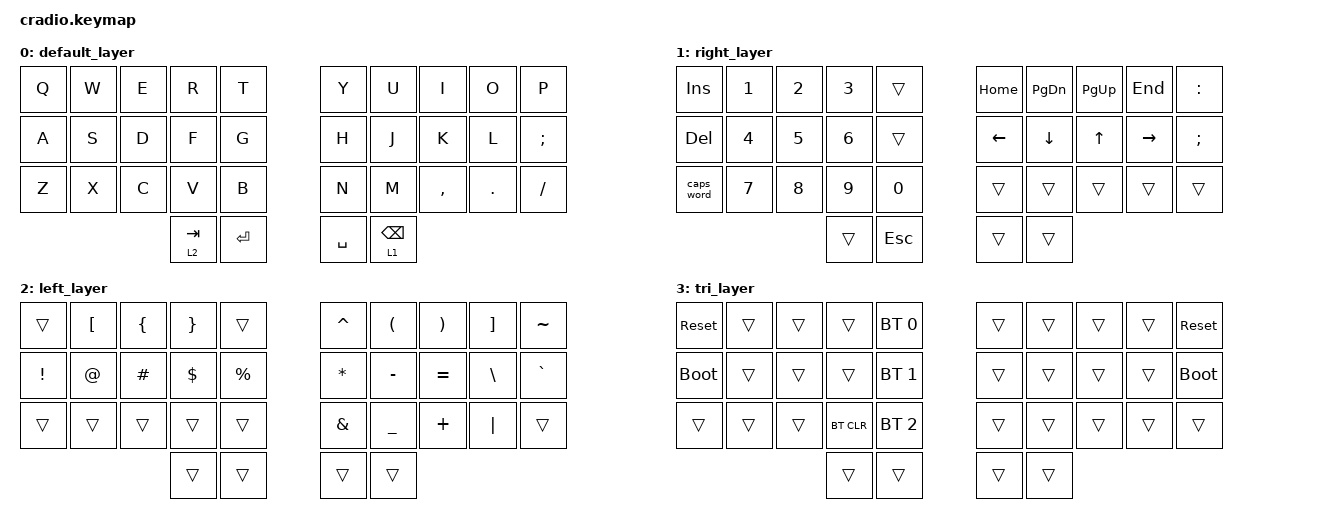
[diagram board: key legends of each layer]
// Copyright (c) 2022 The ZMK Contributors
// SPDX-License-Identifier: MIT

#include <behaviors.dtsi>
#include <dt-bindings/zmk/keys.h>
#include <dt-bindings/zmk/bt.h>

// Home row mods macro
//#define HRML(k1,k2,k3,k4) &ht LSHFT k1  &ht LALT k2  &ht LCTRL k3  &ht LGUI k4
//#define HRMR(k1,k2,k3,k4) &ht RGUI k1  &ht RCTRL k2  &ht RALT k3  &ht RSHFT k4

/ {
    behaviors {
        ht: hold_tap {
            compatible = "zmk,behavior-hold-tap";
            #binding-cells = <2>;
            flavor = "tap-preferred";
            tapping-term-ms = <220>;
            quick-tap-ms = <150>;
            require-prior-idle-ms = <100>;
            bindings = <&kp>, <&kp>;
        };
    };

    conditional_layers {
        compatible = "zmk,conditional-layers";
        tri_layer {
            if-layers = <1 2>;
            then-layer = <3>;
        };
    };

    keymap {
        compatible = "zmk,keymap";
        default_layer {
            bindings = <
		&kp Q   &kp W   &kp E   &kp R   &kp T 						&kp Y   &kp U   &kp I    &kp O   &kp P 
		&kp A   &kp S   &kp D   &kp F   &kp G 			        	&kp H   &kp J   &kp K    &kp L   &kp SEMI
		&kp Z   &kp X   &kp C   &kp V   &kp B				        &kp N   &kp M   &kp CMMA &kp DOT &kp SLASH
                              &lt 2 TAB   &kp ENTER     &kp SPACE  &lt 1 BSPC
            >;
        };

        right_layer {
            bindings = <
            &kp INS    &kp N1     &kp N2     &kp N3     &trans         &kp HOME   &kp PG_DN  &kp PG_UP  &kp END    &kp COLON
            &kp DEL    &kp N4     &kp N5     &kp N6     &trans         &kp LEFT   &kp DOWN   &kp UP   &kp RIGHT   &kp SEMI
           &caps_word  &kp N7     &kp N8     &kp N9     &kp N0         &trans     &trans     &trans     &trans     &trans
                                             &trans     &kp ESC        &trans     &trans
            >;
        };

        left_layer {
            bindings = <
            &trans     &kp LBKT   &kp LBRC   &kp RBRC   &trans         &kp CARET  &kp LPAR   &kp RPAR   &kp RBKT   &kp TILDE
            &kp EXCL   &kp AT     &kp HASH   &kp DLLR   &kp PRCNT      &kp ASTRK  &kp MINUS  &kp EQUAL  &kp BSLH   &kp GRAVE
            &trans     &trans     &trans     &trans     &trans         &kp AMPS   &kp UNDER  &kp PLUS   &kp PIPE   &trans
                                             &trans     &trans         &trans     &trans
         >;
        };

        tri_layer {
            bindings = <
            &sys_reset   &trans     &trans     &trans     &bt BT_SEL 0    &trans     &trans     &trans     &trans    &sys_reset
            &bootloader  &trans     &trans     &trans     &bt BT_SEL 1    &trans     &trans     &trans     &trans    &bootloader
            &trans       &trans     &trans     &bt BT_CLR &bt BT_SEL 2    &trans     &trans     &trans     &trans    &trans
                                             &trans     &trans          &trans     &trans
           >;
        };
    };
};
